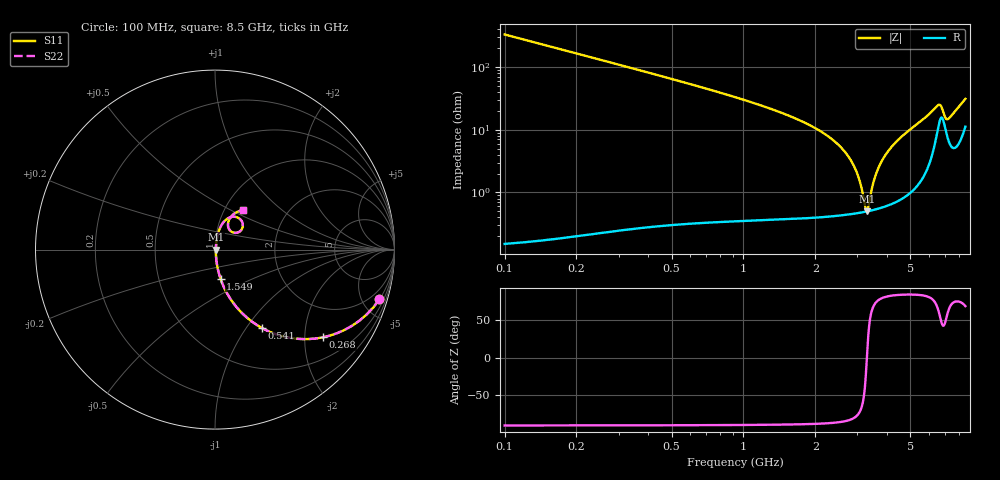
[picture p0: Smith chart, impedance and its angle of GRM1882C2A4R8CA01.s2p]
!Murata Part Number: GRM1882C2A4R8CA01
!These Parameters are Measured in Series Mode Connection
!Data Generated on Mar 30, 2021
!  o--ll--o
!Port1  Port2
!  o------o
!Operation Temp=25[degC], DC Bias Voltage=0[V]
!Freq. Start=100[MHz] Stop=9[GHz] 401[Steps]
# Hz S RI R 50
!Freq.(Hz) S11(Real) S11(Imag) S21(Real) S21(Imag) S12(Real) S12(Imag) S22(Real) S22(Imag)
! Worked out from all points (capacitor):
!   401 points, 100 MHz to 8.5 GHz, reference 50 ohm
!   read as one part in series: C = 4.8 pF near 142 MHz
!   lowest |Z| = 500 mohm at 3.292 GHz (marker M1)
!   series resonance near 3.287 GHz, so ESL is about 490 pH
!   S11 on the Smith chart (normalised r, x): 100 MHz: 1.00, -6.62; 268 MHz: 1.00, -2.46; 541 MHz: 1.01, -1.19; 1.549 GHz: 1.01, -0.34; 8.5 GHz: 1.22, +0.58
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1e8  0.9164 -0.2766  0.0836 0.2766  0.0836 0.2766  0.9164 -0.2766
2.68e8  0.6012 -0.4887  0.3988 0.4887  0.3988 0.4887  0.6012 -0.4887
3.94e8  0.4075 -0.4897  0.5925 0.4897  0.5925 0.4897  0.4075 -0.4897
5.41e8  0.2632 -0.4378  0.7368 0.4378  0.7368 0.4378  0.2632 -0.4378
8.98e8  0.1072 -0.3044  0.8928 0.3044  0.8928 0.3044  0.1072 -0.3044
1.507e9  0.0331 -0.1686  0.9669 0.1686  0.9669 0.1686  0.0331 -0.1686
1.549e9  0.0308 -0.162  0.9692 0.162  0.9692 0.162  0.0308 -0.162
2.431e9  0.00812 -0.0624  0.9919 0.0624  0.9919 0.0624  0.00812 -0.0624
2.914e9  0.00519 -0.025  0.9948 0.025  0.9948 0.025  0.00519 -0.025
3.061e9  0.00493 -0.0148  0.9951 0.0148  0.9951 0.0148  0.00493 -0.0148
3.229e9  0.0049 -0.00372  0.9951 0.00372  0.9951 0.00372  0.0049 -0.00372
3.292e9  0.00496 0.000313  0.995 -0.000313  0.995 -0.000313  0.00496 0.000313
3.334e9  0.00502 0.00297  0.995 -0.00297  0.995 -0.00297  0.00502 0.00297
3.502e9  0.00541 0.0134  0.9946 -0.0134  0.9946 -0.0134  0.00541 0.0134
3.67e9  0.00603 0.0234  0.994 -0.0234  0.994 -0.0234  0.00603 0.0234
3.943e9  0.00752 0.0392  0.9925 -0.0392  0.9925 -0.0392  0.00752 0.0392
4.3e9  0.0104 0.0592  0.9896 -0.0592  0.9896 -0.0592  0.0104 0.0592
5.707e9  0.039 0.1415  0.961 -0.1415  0.961 -0.1415  0.039 0.1415
6.568e9  0.1388 0.1705  0.8612 -0.1705  0.8612 -0.1705  0.1388 0.1705
7.114e9  0.0871 0.1033  0.9129 -0.1033  0.9129 -0.1033  0.0871 0.1033
7.723e9  0.0809 0.1703  0.9191 -0.1703  0.9191 -0.1703  0.0809 0.1703
8.5e9  0.1584 0.2203  0.8416 -0.2203  0.8416 -0.2203  0.1584 0.2203
